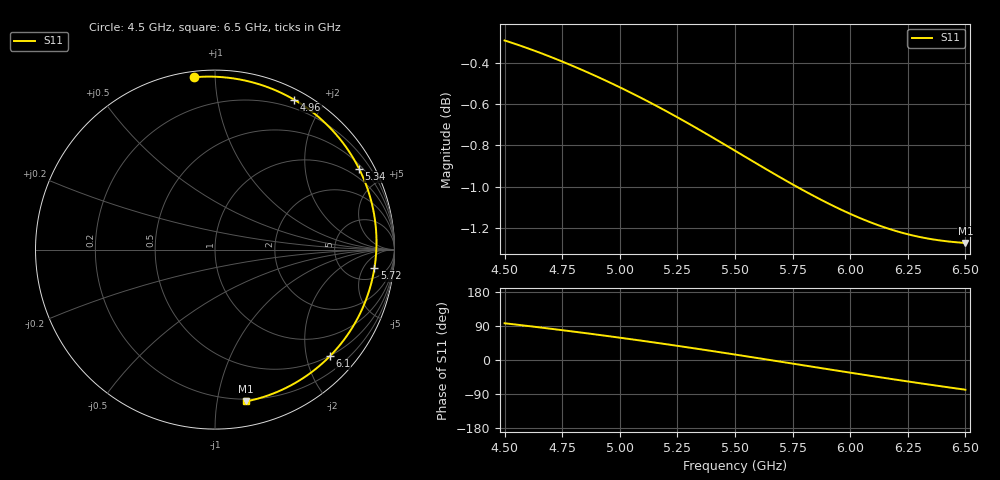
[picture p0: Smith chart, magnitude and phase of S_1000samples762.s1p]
! TOUCHSTONE file generated by CST MICROWAVE STUDIO
! Date and time: Sat Oct 29 07:18:27 2022
! Project name: L.cst
! Parameters = {Di=1.27; Epsilon_r=1.56; InnerDiameter=1.27; Length=2; Lf=10; Lg=60; OuterConductorThickness=0.2921; OuterDiameter=3.6; Wf=3; Wp=41.2; de=1.5; df=6.8; g=0.8; gx=3.89623; gy=3.93912; h=2.34; hf=1.524; px=9.10087; py=9.13787; w=9.7; wx=5.20464; wy=5.19875}
! Header version: 2018
! Port assignment regex: !\s*Touchstone port\s*([0-9]+)\s*=\s*(CST MWS port|CST DS port)\s*([0-9]+|Zmin|Zmax)\s*\(\"(.*)\"\)(\s*mode\s*([0-9]+))?.*
! Touchstone port assignment:
! Touchstone port 1 = CST MWS port 1 ("")
# GHz S DB R 50
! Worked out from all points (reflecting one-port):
!   101 points, 4.5 GHz to 6.5 GHz, reference 50 ohm
!   lowest |S11| = -1.3 dB at 6.5 GHz (marker M1), VSWR 13.66, Z = 9.1 - j60.5 ohm
!   phase of S11 starts at 97 deg and turns -175 deg over the sweep
!   S11 on the Smith chart (normalised r, x): 4.5 GHz: 0.03, +0.89; 4.96 GHz: 0.11, +1.65; 5.34 GHz: 0.63, +3.73; 5.72 GHz: 9, -9; 6.1 GHz: 0.49, -2.47; 6.5 GHz: 0.18, -1.21
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4.5  -0.29 96.9
4.58  -0.32 91.3
4.64  -0.34 86.9
4.76  -0.40 78.0
4.86  -0.44 70.2
4.96  -0.50 62.2
5  -0.52 58.9
5.12  -0.58 48.8
5.18  -0.62 43.6
5.26  -0.67 36.5
5.34  -0.72 29.2
5.42  -0.77 21.9
5.5  -0.83 14.4
5.56  -0.87 8.7
5.62  -0.91 3.0
5.72  -0.97 -6.6
5.76  -1.00 -10.4
5.82  -1.03 -16.2
5.88  -1.07 -22.0
5.94  -1.10 -27.7
6  -1.13 -33.4
6.1  -1.18 -42.8
6.18  -1.21 -50.2
6.26  -1.23 -57.5
6.32  -1.25 -62.8
6.38  -1.26 -68.1
6.44  -1.27 -73.3
6.5  -1.27 -78.4
